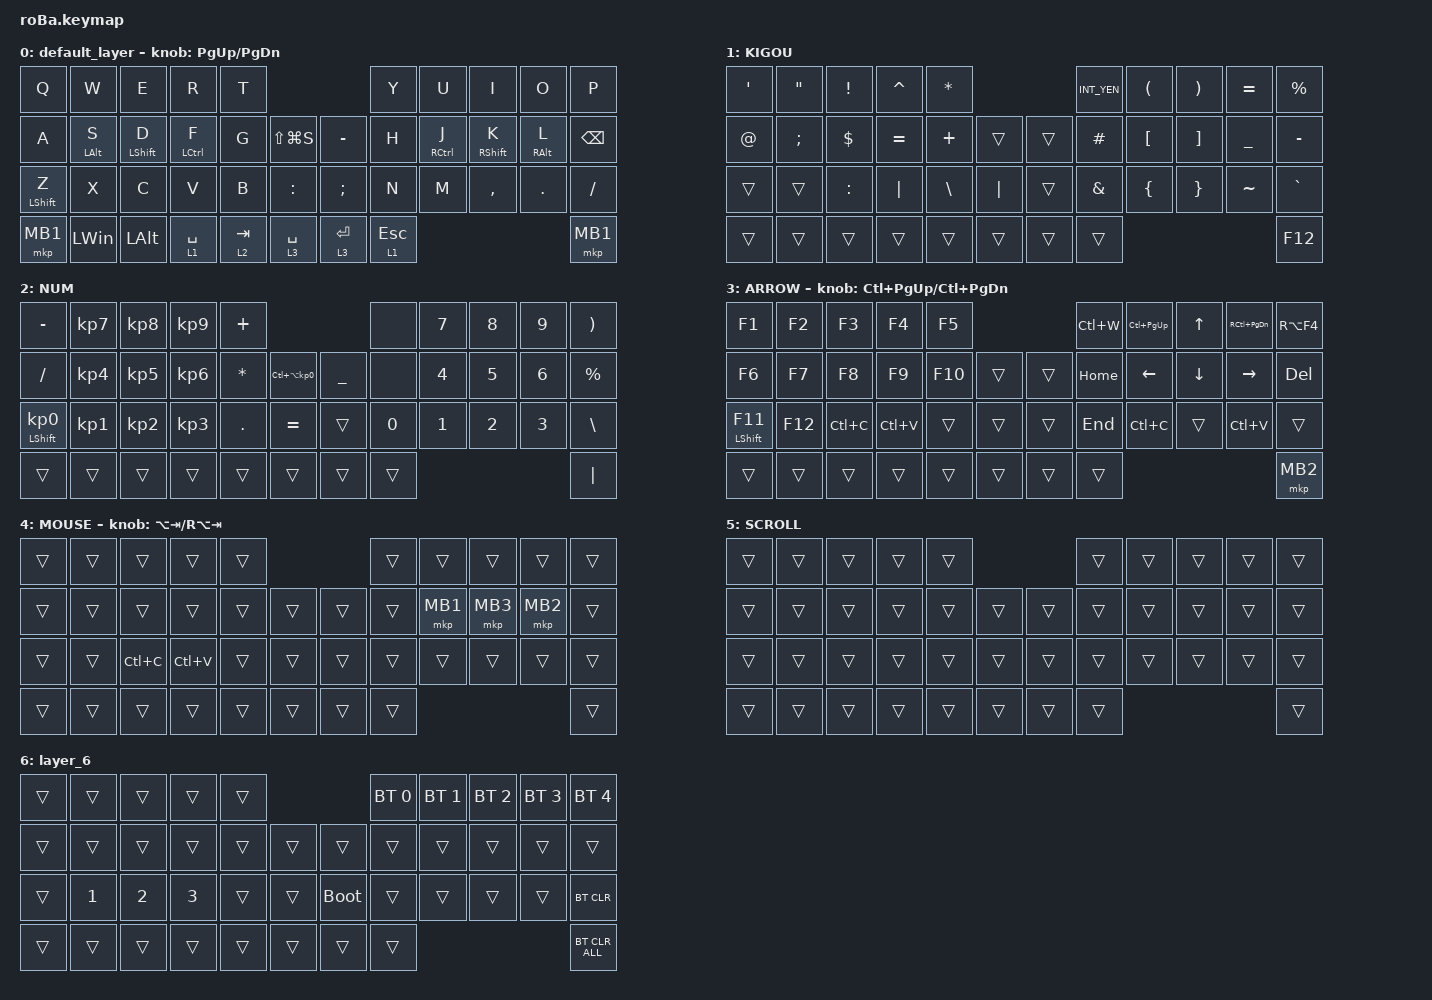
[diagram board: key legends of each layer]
#include <behaviors.dtsi>
#include <dt-bindings/zmk/bt.h>
#include <dt-bindings/zmk/keys.h>
#include <dt-bindings/zmk/mouse.h>

#define MOUSE 4
#define SCROLL 5
#define NUM 6

&mt {
    flavor = "balanced";
    quick-tap-ms = <0>;
};

/ {
    combos {
        compatible = "zmk,combos";

        tab {
            bindings = <&kp TAB>;
            key-positions = <11 12>;
        };

        shift_tab {
            bindings = <&kp LS(TAB)>;
            key-positions = <12 13>;
        };

        muhennkann {
            bindings = <&to_layer_0 INT_MUHENKAN>;
            key-positions = <11 10>;
        };

        double_quotation {
            bindings = <&kp DOUBLE_QUOTES>;
            key-positions = <20 21>;
        };

        eq {
            bindings = <&kp EQUAL>;
            key-positions = <24 25>;
        };
    };

    macros {
        to_layer_0: to_layer_0 {
            compatible = "zmk,behavior-macro-one-param";
            #binding-cells = <1>;
            bindings = <&to 0 &macro_param_1to1 &kp MACRO_PLACEHOLDER>;
            label = "TO_LAYER_0";
        };
    };

    behaviors {
        lt_to_layer_0: lt_to_layer_0 {
            compatible = "zmk,behavior-hold-tap";
            label = "LAYER_TAP_TO_0";
            bindings = <&mo>, <&to_layer_0>;

            #binding-cells = <2>;
            tapping-term-ms = <200>;
        };
    };

    keymap {
        compatible = "zmk,keymap";

        default_layer {
            bindings = <
&kp Q             &kp W           &kp E             &kp R        &kp T                                      &kp Y      &kp U        &kp I              &kp O            &kp P
&kp A             &mt LEFT_ALT S  &mt LEFT_SHIFT D  &mt LCTRL F  &kp G      &kp LS(LG(S))    &kp MINUS      &kp H      &mt RCTRL J  &mt RIGHT_SHIFT K  &mt RIGHT_ALT L  &kp BACKSPACE
&mt LEFT_SHIFT Z  &kp X           &kp C             &kp V        &kp B      &kp COLON        &kp SEMICOLON  &kp N      &kp M        &kp COMMA          &kp DOT          &kp SLASH
&mkp MB1          &kp LEFT_WIN    &kp LEFT_ALT      &lt 1 SPACE  &lt 2 TAB  &lt 3 SPACE      &lt 3 ENTER    &lt 1 ESC                                                   &mkp MB1
            >;

            sensor-bindings = <&inc_dec_kp PG_UP PAGE_DOWN>;
        };

        KIGOU {
            bindings = <
&kp SINGLE_QUOTE  &kp DOUBLE_QUOTES  &kp EXCL    &kp CARET  &kp ASTERISK                       &kp INT_YEN    &kp LEFT_PARENTHESIS  &kp RIGHT_PARENTHESIS  &kp EQUAL  &kp PERCENT
&kp AT            &kp SEMI           &kp DOLLAR  &kp EQUAL  &kp PLUS       &trans      &trans  &kp HASH       &kp LEFT_BRACKET      &kp RIGHT_BRACKET      &kp UNDER  &kp MINUS
&trans            &trans             &kp COLON   &kp PIPE   &kp BACKSLASH  &kp PIPE    &trans  &kp AMPERSAND  &kp LEFT_BRACE        &kp RIGHT_BRACE        &kp TILDE  &kp GRAVE
&trans            &trans             &trans      &trans     &trans         &trans      &trans  &trans                                                                 &kp F12
            >;
        };

        NUM {
            bindings = <
&kp MINUS                   &kp KP_NUMBER_7  &kp KP_NUMBER_8  &kp KP_NUMBER_9  &kp PLUS                                                 &none   &kp N7        &kp N8        &kp N9        &kp RIGHT_PARENTHESIS
&kp SLASH                   &kp KP_NUMBER_4  &kp KP_NUMBER_5  &kp KP_NUMBER_6  &kp ASTERISK  &kp LC(LA(KP_NUMBER_0))    &kp UNDERSCORE  &none   &kp NUMBER_4  &kp N5        &kp NUMBER_6  &kp PERCENT
&mt LEFT_SHIFT KP_NUMBER_0  &kp KP_NUMBER_1  &kp KP_NUMBER_2  &kp KP_NUMBER_3  &kp PERIOD    &kp EQUAL                  &trans          &kp N0  &kp NUMBER_1  &kp NUMBER_2  &kp NUMBER_3  &kp BACKSLASH
&trans                      &trans           &trans           &trans           &trans        &trans                     &trans          &trans                                            &kp PIPE
            >;
        };

        ARROW {
            bindings = <
&kp F1              &kp F2   &kp F3     &kp F4     &kp F5                     &kp LC(W)  &kp LC(PAGE_UP)  &kp UP_ARROW  &kp RC(PAGE_DOWN)  &kp RA(F4)
&kp F6              &kp F7   &kp F8     &kp F9     &kp F10  &trans    &trans  &kp HOME   &kp LEFT_ARROW   &kp DOWN      &kp RIGHT_ARROW    &kp DELETE
&mt LEFT_SHIFT F11  &kp F12  &kp LC(C)  &kp LC(V)  &trans   &trans    &trans  &kp END    &kp LC(C)        &trans        &kp LC(V)          &trans
&trans              &trans   &trans     &trans     &trans   &trans    &trans  &trans                                                       &mkp MB2
            >;

            sensor-bindings = <&inc_dec_kp LC(PAGE_UP) LC(PAGE_DOWN)>;
        };

        MOUSE {
            bindings = <
&trans  &trans  &trans     &trans     &trans                    &trans  &trans    &trans    &trans    &trans
&trans  &trans  &trans     &trans     &trans  &trans    &trans  &trans  &mkp MB1  &mkp MB3  &mkp MB2  &trans
&trans  &trans  &kp LC(C)  &kp LC(V)  &trans  &trans    &trans  &trans  &trans    &trans    &trans    &trans
&trans  &trans  &trans     &trans     &trans  &trans    &trans  &trans                                &trans
            >;

            sensor-bindings = <&inc_dec_kp LA(TAB) RA(TAB)>;
        };

        SCROLL {
            bindings = <
&trans  &trans  &trans  &trans  &trans                    &trans  &trans  &trans  &trans  &trans
&trans  &trans  &trans  &trans  &trans  &trans    &trans  &trans  &trans  &trans  &trans  &trans
&trans  &trans  &trans  &trans  &trans  &trans    &trans  &trans  &trans  &trans  &trans  &trans
&trans  &trans  &trans  &trans  &trans  &trans    &trans  &trans                          &trans
            >;
        };

        layer_6 {
            bindings = <
&trans  &trans        &trans        &trans        &trans                         &bt BT_SEL 0  &bt BT_SEL 1  &bt BT_SEL 2  &bt BT_SEL 3  &bt BT_SEL 4
&trans  &trans        &trans        &trans        &trans  &trans    &trans       &trans        &trans        &trans        &trans        &trans
&trans  &kp NUMBER_1  &kp NUMBER_2  &kp NUMBER_3  &trans  &trans    &bootloader  &trans        &trans        &trans        &trans        &bt BT_CLR
&trans  &trans        &trans        &trans        &trans  &trans    &trans       &trans                                                  &bt BT_CLR_ALL
            >;
        };
    };
};
